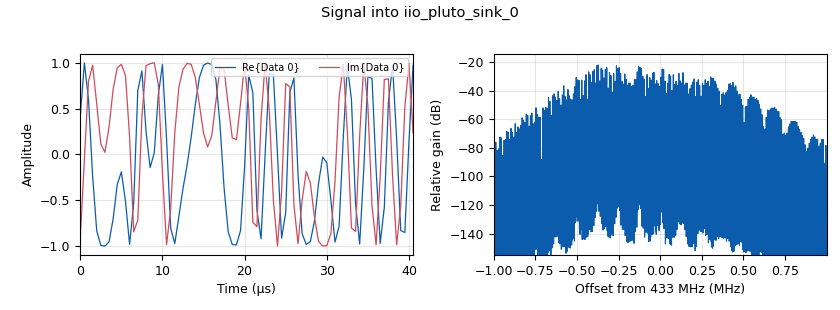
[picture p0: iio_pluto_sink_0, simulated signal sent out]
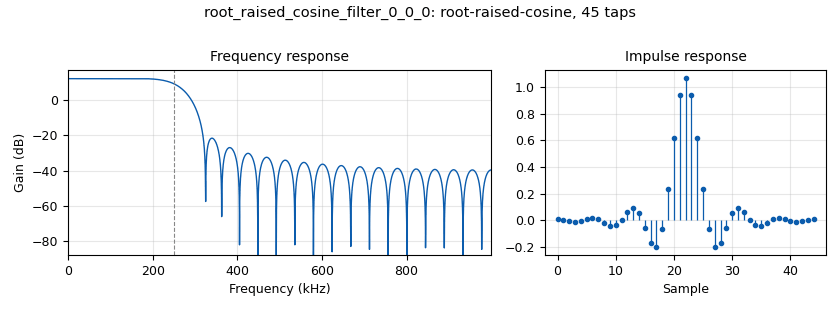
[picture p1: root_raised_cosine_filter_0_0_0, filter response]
options:
  parameters:
    author: dfdtc
    generate_options: no_gui
    id: rm_tx
    output_language: python
    title: rm_tx
  states: {}

blocks:
- name: D
  id: variable
  parameters:
    value: symb_rate/4
  states: {}
- name: alpha
  id: variable
  parameters:
    value: '0.25'
  states: {}
- name: inter
  id: variable
  parameters:
    value: '4'
  states: {}
- name: samp_rate
  id: variable
  parameters:
    value: 2e6
  states: {}
- name: sps
  id: variable
  parameters:
    value: '4'
  states: {}
- name: symb_rate
  id: variable
  parameters:
    value: 500e3
  states: {}
- name: blocks_char_to_float_0
  id: blocks_char_to_float
  parameters:
    scale: '1'
  states: {}
- name: blocks_repack_bits_bb_1
  id: blocks_repack_bits_bb
  parameters:
    endianness: gr.GR_LSB_FIRST
    k: '8'
    l: '2'
    len_tag_key: '"packet_len"'
  states: {}
- name: blocks_stream_to_tagged_stream_0
  id: blocks_stream_to_tagged_stream
  parameters:
    len_tag_key: '"packet_len"'
    packet_len: '15'
    type: byte
  states: {}
- name: blocks_vco_c_0
  id: blocks_vco_c
  parameters:
    amplitude: '1'
    samp_rate: samp_rate
    sensitivity: (2*math.pi)*D
  states: {}
- name: blocks_vector_source_x_0
  id: blocks_vector_source_x
  parameters:
    repeat: 'True'
    type: byte
    vector: (165, 0, 6, 0, 153, 10, 6, 65, 65, 65, 65, 65, 65, 189, 45)
  states: {}
- name: digital_map_bb_0
  id: digital_map_bb
  parameters:
    map: '[-3,-1,1,3]'
  states: {}
- name: iio_pluto_sink_0
  id: iio_pluto_sink
  parameters:
    attenuation1: '0'
    bandwidth: '2000000'
    buffer_size: '32768'
    cyclic: 'False'
    filter_source: '''Auto'''
    fpass: '500000'
    frequency: '433000000'
    fstop: '900000'
    samplerate: '2000000'
    type: fc32
    uri: '"192.168.2.1"'
  states: {}
- name: import_0
  id: import
  parameters:
    imports: import math
  states: {}
- name: qtgui_number_sink_0
  id: qtgui_number_sink
  parameters:
    graph_type: qtgui.NUM_GRAPH_HORIZ
    name: '"BER"'
    type: float
  states: {state: disabled}
- name: root_raised_cosine_filter_0_0_0
  id: root_raised_cosine_filter
  parameters:
    alpha: alpha
    gain: sps
    interp: sps
    ntaps: 11*sps
    samp_rate: samp_rate
    sym_rate: symb_rate
    type: interp_fir_filter_fff
  states: {}

connections:
- [blocks_char_to_float_0, '0', root_raised_cosine_filter_0_0_0, '0']
- [blocks_repack_bits_bb_1, '0', digital_map_bb_0, '0']
- [blocks_stream_to_tagged_stream_0, '0', blocks_repack_bits_bb_1, '0']
- [blocks_vco_c_0, '0', iio_pluto_sink_0, '0']
- [blocks_vector_source_x_0, '0', blocks_stream_to_tagged_stream_0, '0']
- [digital_map_bb_0, '0', blocks_char_to_float_0, '0']
- [root_raised_cosine_filter_0_0_0, '0', blocks_vco_c_0, '0']

metadata:
  file_format: 1
  grc_version: 3.10.12.0
